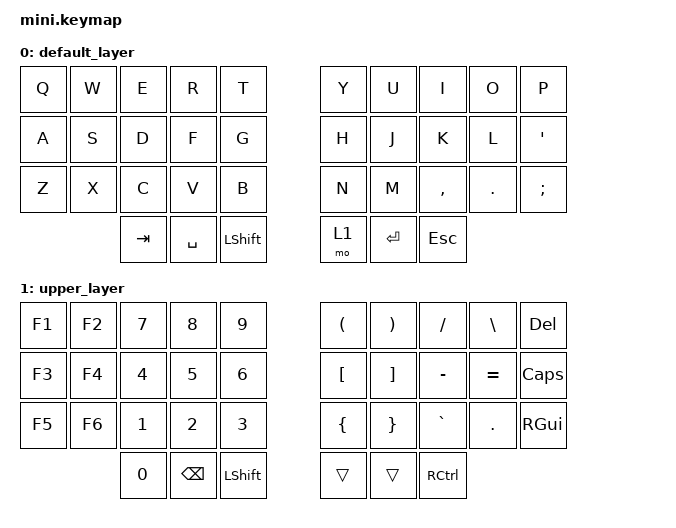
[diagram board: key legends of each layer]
#include <behaviors.dtsi>
#include <dt-bindings/zmk/keys.h>

/ {
    keymap {
        compatible = "zmk,keymap";

        default_layer {
            bindings = <
&kp Q  &kp W  &kp E    &kp R      &kp T      &kp Y  &kp U    &kp I      &kp O    &kp P
&kp A  &kp S  &kp D    &kp F      &kp G      &kp H  &kp J    &kp K      &kp L    &kp SQT
&kp Z  &kp X  &kp C    &kp V      &kp B      &kp N  &kp M    &kp COMMA  &kp DOT  &kp SEMICOLON
              &kp TAB  &kp SPACE  &kp LSHFT  &mo 1  &kp RET  &kp ESC
            >;
        };

        upper_layer {
            bindings = <
&kp F1  &kp F2  &kp N7  &kp N8         &kp N9          &kp LEFT_PARENTHESIS  &kp RIGHT_PARENTHESIS  &kp FSLH           &kp BSLH   &kp DEL
&kp F3  &kp F4  &kp N4  &kp N5         &kp N6          &kp LBKT              &kp RBKT               &kp MINUS          &kp EQUAL  &kp CAPS
&kp F5  &kp F6  &kp N1  &kp N2         &kp N3          &kp LEFT_BRACE        &kp RIGHT_BRACE        &kp GRAVE          &kp DOT    &kp RGUI
                &kp N0  &kp BACKSPACE  &kp LEFT_SHIFT  &trans                &trans                 &kp RIGHT_CONTROL
            >;
        };
    };
};
